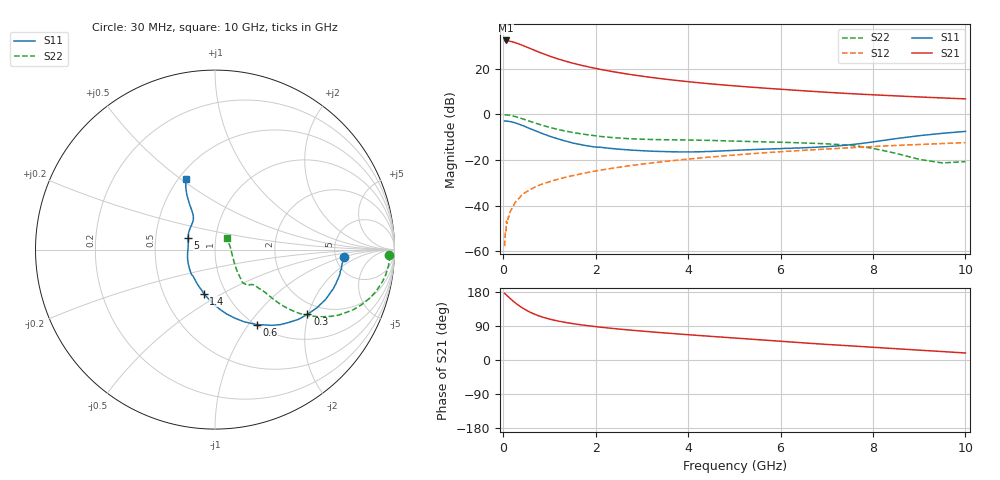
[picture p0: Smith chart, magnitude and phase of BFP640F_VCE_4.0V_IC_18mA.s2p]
! Infineon Technologies  Discrete & RF Semiconductors
! BFP640F
! VCE =  4.0 V,  IC =  18 mA
! Common Emitter S-Parameters:  Apr 2013
# GHz  S  MA  R  50
!  f  S11  S21  S12  S22
! GHz  MAG  ANG  MAG  ANG  MAG  ANG  MAG  ANG
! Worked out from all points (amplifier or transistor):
!   99 points, 30 MHz to 10 GHz, reference 50 ohm
!   highest |S21| = 32.4 dB at 50 MHz (marker M1)
!   |S21| within 3 dB of that: start of sweep to 520.5 MHz
!   unconditionally stable (mu >= 1): 2.313 GHz to end of sweep
!   at 350 MHz: K = 0.36, MSG = 33.7 dB, |S12| = -36.6 dB
!   at 3.5 GHz: K = 1.05, MAG = 16.6 dB, |S12| = -20.6 dB
!   at 10 GHz: K = 1.05, MAG = 8.2 dB, |S12| = -12.4 dB
!   S11 on the Smith chart (normalised r, x): 30 MHz: 5.88, -1.06; 300 MHz: 1.65, -1.98; 600 MHz: 1.01, -1.09; 1.4 GHz: 0.79, -0.41; 5 GHz: 0.73, +0.10; 10 GHz: 0.55, +0.52
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0.03  0.7175 -3.5  41.27 175.9  0.0013 63.2  0.9717 -1.8
0.05  0.714 -5.8  41.48 173.7  0.0029 87.3  0.9732 -3.3
0.12  0.7015 -14.7  40.47 165.6  0.0056 73.4  0.9593 -9.0
0.2  0.6761 -24.2  38.65 157.0  0.0091 79.1  0.9253 -14.8
0.3  0.6291 -35.0  36 147.1  0.0132 73.5  0.8704 -20.8
0.4  0.5774 -44.7  32.95 138.5  0.017 72.9  0.8079 -25.8
0.5  0.5268 -53.2  29.94 131.3  0.0201 70.2  0.7478 -29.8
0.6  0.4773 -61.0  27.2 125.0  0.023 68.7  0.6921 -32.8
0.7  0.4351 -67.8  24.69 119.8  0.026 67.9  0.6402 -35.1
0.8  0.3958 -74.2  22.5 115.2  0.0287 67.6  0.5955 -36.9
0.9  0.3634 -79.9  20.59 111.4  0.031 66.7  0.555 -38.1
1.1  0.3088 -90.3  17.47 105.1  0.036 66.5  0.4896 -39.6
1.4  0.2525 -104.2  14.11 98.0  0.0432 65.8  0.4203 -40.4
1.7  0.2154 -117.3  11.81 92.6  0.0503 65.3  0.3721 -40.4
2  0.192 -129.3  10.14 88.1  0.0575 64.5  0.3392 -40.8
2.4  0.1767 -144.1  8.509 82.9  0.0669 63.3  0.3083 -41.8
3.4  0.1542 -172.7  6.072 72.3  0.0907 59.7  0.2791 -44.3
5  0.1631 157.1  4.207 58.1  0.1286 52.8  0.2596 -48.3
5.1  0.1644 155.7  4.131 57.2  0.131 52.4  0.2582 -48.5
6.7  0.1892 133.7  3.184 43.5  0.1673 44.0  0.2324 -49.9
8.5  0.2943 119.1  2.536 29.8  0.2085 34.5  0.14 -37.6
10  0.4233 112.5  2.181 18.5  0.2407 26.0  0.0921 43.9
